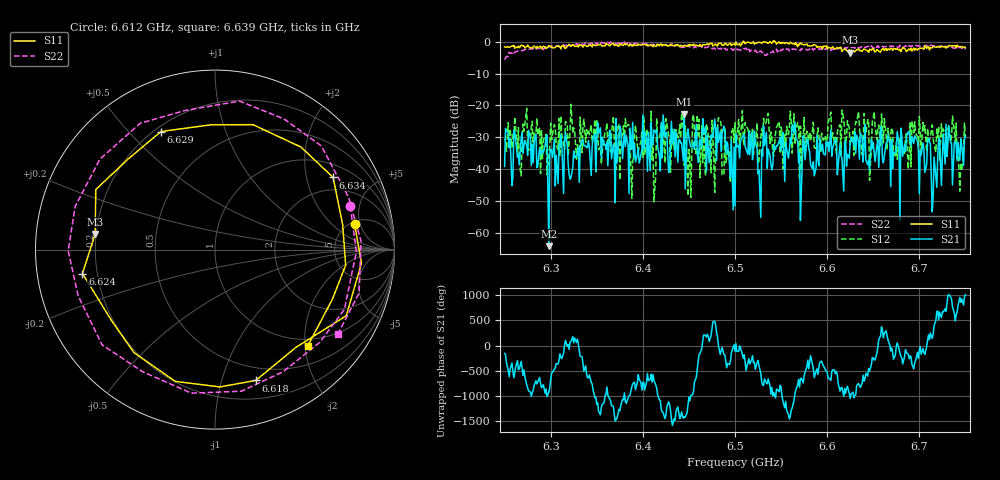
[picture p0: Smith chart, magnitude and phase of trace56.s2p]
# Hz S RI R 50
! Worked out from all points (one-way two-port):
!   401 points, 6.25 GHz to 6.75 GHz, reference 50 ohm
!   highest |S21| = -22.68 dB at 6.445 GHz (marker M1); lowest = -64.3 dB at 6.298 GHz (marker M2)
!   lowest |S11| = -3.4 dB at 6.625 GHz (marker M3), VSWR 5.12, Z = 9.81 + j3.14 ohm
!   |S11| at or under -10 dB: nowhere
!   |S22| runs from -5.6 to 0.0 dB; largest |S21 - S12| = 0.12
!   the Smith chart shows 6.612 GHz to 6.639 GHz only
!   S11 on the Smith chart (normalised r, x): 6.612 GHz: 5.43, +4.06; 6.618 GHz: 0.37, -1.29; 6.624 GHz: 0.14, -0.09; 6.629 GHz: 0.22, +0.62; 6.634 GHz: 1.46, +2.89; 6.639 GHz: 0.85, -2.06
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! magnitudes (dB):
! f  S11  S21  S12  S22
! 6.25 GHz  -1.6  -39.2  -30.6  -5.6
! 6.298 GHz  -1.2  -64.3  -36.2  -1.6
! 6.334 GHz  -1.3  -30.8  -34.8  -0.7
! 6.418 GHz  -1.2  -36.0  -30.3  -0.9
! 6.445 GHz  -1.0  -22.7  -38.9  -1.8
! 6.45 GHz  -0.8  -30.2  -33.8  -1.5
! 6.456 GHz  -1.1  -33.8  -28.0  -1.4
! 6.5 GHz  -1.1  -51.7  -25.5  -2.0
! 6.565 GHz  -0.9  -25.4  -32.3  -2.4
! 6.57 GHz  -0.9  -34.8  -43.3  -2.7
! 6.584 GHz  -1.2  -39.9  -28.0  -2.1
! 6.612 GHz  -2.0  -38.9  -27.0  -2.0
! 6.618 GHz  -2.3  -46.9  -24.4  -2.2
! 6.624 GHz  -2.5  -36.6  -27.1  -1.9
! 6.625 GHz  -3.4  -31.6  -32.4  -1.7
! 6.629 GHz  -2.8  -32.6  -35.7  -1.7
! 6.634 GHz  -2.3  -31.2  -22.0  -1.6
! 6.639 GHz  -2.5  -37.8  -31.7  -1.6
! 6.668 GHz  -2.5  -31.7  -32.4  -1.4
! 6.71 GHz  -1.5  -30.4  -31.1  -1.2
! 6.716 GHz  -1.4  -36.2  -32.5  -1.2
! 6.75 GHz  -1.8  -29.6  -29.8  -2.3
